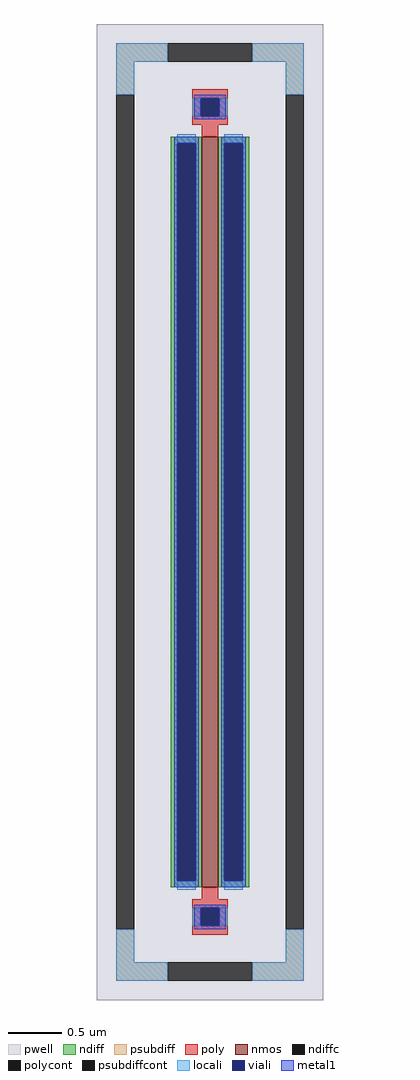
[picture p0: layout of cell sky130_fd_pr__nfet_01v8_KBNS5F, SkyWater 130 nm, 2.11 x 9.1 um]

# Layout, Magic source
magic
tech sky130A
magscale 1 2
<< pwell >>
rect -211 -910 211 910
<< nmos >>
rect -15 -700 15 700
<< ndiff >>
rect -73 688 -15 700
rect -73 -688 -61 688
rect -27 -688 -15 688
rect -73 -700 -15 -688
rect 15 688 73 700
rect 15 -688 27 688
rect 61 -688 73 688
rect 15 -700 73 -688
<< ndiffc >>
rect -61 -688 -27 688
rect 27 -688 61 688
<< psubdiff >>
rect -175 840 -79 874
rect 79 840 175 874
rect -175 778 -141 840
rect 141 778 175 840
rect -175 -840 -141 -778
rect 141 -840 175 -778
rect -175 -874 -79 -840
rect 79 -874 175 -840
<< psubdiffcont >>
rect -79 840 79 874
rect -175 -778 -141 778
rect 141 -778 175 778
rect -79 -874 79 -840
<< poly >>
rect -33 772 33 788
rect -33 738 -17 772
rect 17 738 33 772
rect -33 722 33 738
rect -15 700 15 722
rect -15 -722 15 -700
rect -33 -738 33 -722
rect -33 -772 -17 -738
rect 17 -772 33 -738
rect -33 -788 33 -772
<< polycont >>
rect -17 738 17 772
rect -17 -772 17 -738
<< locali >>
rect -175 840 -79 874
rect 79 840 175 874
rect -175 778 -141 840
rect 141 778 175 840
rect -33 738 -17 772
rect 17 738 33 772
rect -61 688 -27 704
rect -61 -704 -27 -688
rect 27 688 61 704
rect 27 -704 61 -688
rect -33 -772 -17 -738
rect 17 -772 33 -738
rect -175 -840 -141 -778
rect 141 -840 175 -778
rect -175 -874 -79 -840
rect 79 -874 175 -840
<< viali >>
rect -17 738 17 772
rect -61 -688 -27 688
rect 27 -688 61 688
rect -17 -772 17 -738
<< metal1 >>
rect -29 772 29 778
rect -29 738 -17 772
rect 17 738 29 772
rect -29 732 29 738
rect -67 688 -21 700
rect -67 -688 -61 688
rect -27 -688 -21 688
rect -67 -700 -21 -688
rect 21 688 67 700
rect 21 -688 27 688
rect 61 -688 67 688
rect 21 -700 67 -688
rect -29 -738 29 -732
rect -29 -772 -17 -738
rect 17 -772 29 -738
rect -29 -778 29 -772
<< properties >>
string FIXED_BBOX -158 -857 158 857
string gencell sky130_fd_pr__nfet_01v8
string library sky130
string parameters w 7.0 l 0.15 m 1 nf 1 diffcov 100 polycov 100 guard 1 glc 1 grc 1 gtc 1 gbc 1 tbcov 100 rlcov 100 topc 1 botc 1 poverlap 0 doverlap 1 lmin 0.15 wmin 0.42 compatible {sky130_fd_pr__nfet_01v8 sky130_fd_pr__nfet_01v8_lvt  sky130_fd_bs_flash__special_sonosfet_star  sky130_fd_pr__nfet_g5v0d10v5 sky130_fd_pr__nfet_05v0_nvt  sky130_fd_pr__nfet_03v3_nvt} full_metal 1 viasrc 100 viadrn 100 viagate 100 viagb 0 viagr 0 viagl 0 viagt 0
<< end >>
